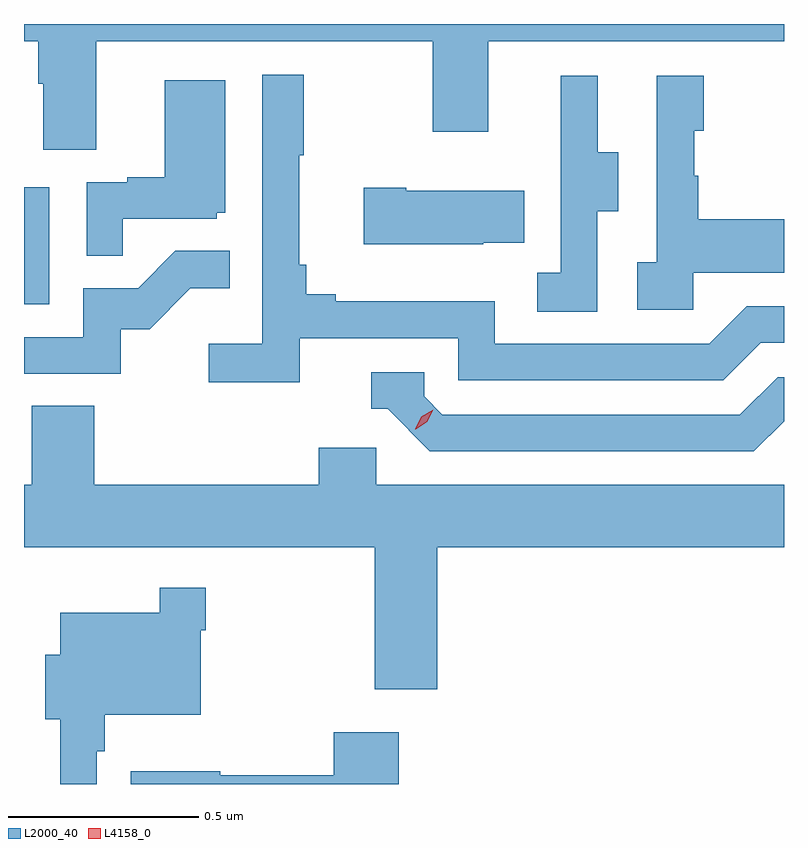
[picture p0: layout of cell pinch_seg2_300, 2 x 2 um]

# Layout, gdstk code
import gdstk
lib = gdstk.Library(unit=1e-6, precision=1e-09)
def R(c, l, rs):  # rectangles x0, y0, x1, y1
    for r in rs: c.add(gdstk.rectangle(r[:2], r[2:], *l))
def P(c, l, *ps):  # polygons
    for p in ps: c.add(gdstk.Polygon(p, *l))
L2000_40 = (2000, 40)
L4158_0 = (4158, 0)

pinch_seg2_300 = lib.new_cell('pinch_seg2_300')
R(pinch_seg2_300, L2000_40, [(943.305,637.62,943.372,637.927)])
P(pinch_seg2_300, L2000_40, [(943.495,638.312),(944.38,638.312),(944.38,638.073),(944.527,638.073),(944.527,638.312),(945.305,638.312),(945.305,638.357),(943.305,638.357),(943.305,638.312),(943.343,638.312),(943.343,638.2),(943.355,638.2),(943.355,638.026),(943.495,638.026)],
  [(944.03,637.53),(944.448,637.53),(944.448,637.419),(945.145,637.419),(945.244,637.518),(945.305,637.518),(945.305,637.614),(945.207,637.614),(945.108,637.515),(944.544,637.515),(944.544,637.627),(944.125,637.627),(944.125,637.646),(944.048,637.646),(944.048,637.723),(944.029,637.723),(944.029,638.011),(944.041,638.011),(944.041,638.224),(943.932,638.224),(943.932,637.516),(943.791,637.516),(943.791,637.414),(944.03,637.414)],
  [(944.814,637.864),(944.869,637.864),(944.869,638.019),(944.815,638.019),(944.815,638.221),(944.717,638.221),(944.717,638.007),(944.718,638.007),(944.718,637.703),(944.655,637.703),(944.655,637.6),(944.814,637.6)],
  [(945.066,637.703),(945.305,637.703),(945.305,637.843),(945.079,637.843),(945.079,637.958),(945.069,637.958),(945.069,638.076),(945.094,638.076),(945.094,638.221),(944.97,638.221),(944.97,637.73),(944.919,637.73),(944.919,637.605),(945.066,637.605)],
  [(943.565,637.845),(943.812,637.845),(943.812,637.86),(943.834,637.86),(943.834,638.209),(943.676,638.209),(943.676,637.954),(943.577,637.954),(943.577,637.941),(943.47,637.941),(943.47,637.747),(943.565,637.747)],
  [(944.513,637.781),(944.621,637.781),(944.621,637.918),(944.311,637.918),(944.311,637.926),(944.199,637.926),(944.199,637.778),(944.513,637.778)],
  [(943.56,637.554),(943.636,637.554),(943.743,637.661),(943.847,637.661),(943.847,637.76),(943.703,637.76),(943.605,637.662),(943.461,637.662),(943.461,637.533),(943.305,637.533),(943.305,637.437),(943.56,637.437)],
  [(945.305,637.312),(945.305,637.428),(945.288,637.428),(945.189,637.329),(944.406,637.329),(944.358,637.377),(944.358,637.44),(944.219,637.44),(944.219,637.344),(944.262,637.344),(944.373,637.233),(945.226,637.233)],
  [(944.392,636.98),(945.305,636.98),(945.305,637.144),(944.232,637.144),(944.232,637.242),(944.081,637.242),(944.081,637.144),(943.49,637.144),(943.49,637.352),(943.325,637.352),(943.325,637.144),(943.305,637.144),(943.305,636.98),(944.228,636.98),(944.228,636.606),(944.392,636.606)],
  [(943.497,636.443),(943.517,636.443),(943.517,636.539),(943.77,636.539),(943.77,636.761),(943.783,636.761),(943.783,636.874),(943.662,636.874),(943.662,636.808),(943.4,636.808),(943.4,636.697),(943.361,636.697),(943.361,636.527),(943.4,636.527),(943.4,636.357),(943.497,636.357)],
  [(944.291,636.493),(944.12,636.493),(944.12,636.38),(943.822,636.38),(943.822,636.391),(943.586,636.391),(943.586,636.357),(944.291,636.357)])
P(pinch_seg2_300, L4158_0, [(944.335,637.291),(944.335,637.291),(944.351,637.323),(944.382,637.342),(944.382,637.342),(944.382,637.342),(944.366,637.31),(944.336,637.291)])

lib.write_gds('pinch_seg2_300.gds')
